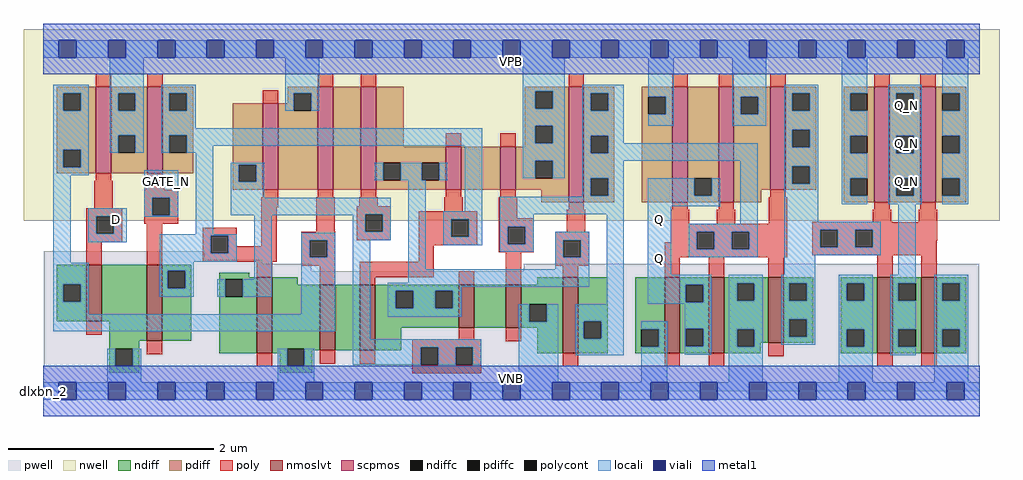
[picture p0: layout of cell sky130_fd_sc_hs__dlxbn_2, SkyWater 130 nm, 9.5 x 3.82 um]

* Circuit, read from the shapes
.subckt sky130_fd_sc_hs__dlxbn_2 D GATE_N VGND VNB VPB VPWR Q Q_N
XM1 VGND D n1 VNB sky130_fd_pr__nfet_01v8_lvt w=0.55 l=0.15
XM2 n2 GATE_N VGND VNB sky130_fd_pr__nfet_01v8_lvt w=0.74 l=0.15
XM3 VGND n2 n3 VNB sky130_fd_pr__nfet_01v8_lvt w=0.74 l=0.15
XM4 n4 n1 VGND VNB sky130_fd_pr__nfet_01v8_lvt w=0.64 l=0.15
XM5 n5 n2 n4 VNB sky130_fd_pr__nfet_01v8_lvt w=0.64 l=0.15
XM6 n6 n3 n5 VNB sky130_fd_pr__nfet_01v8_lvt w=0.42 l=0.15
XM7 VGND n7 n6 VNB sky130_fd_pr__nfet_01v8_lvt w=0.42 l=0.15
XM8 n7 n5 VGND VNB sky130_fd_pr__nfet_01v8_lvt w=0.74 l=0.15
XM9 Q n7 VGND VNB sky130_fd_pr__nfet_01v8_lvt w=0.74 l=0.15 m=2
XM10 n8 n7 VGND VNB sky130_fd_pr__nfet_01v8_lvt w=0.64 l=0.15
XM11 Q_N n8 VGND VNB sky130_fd_pr__nfet_01v8_lvt w=0.74 l=0.15 m=2
XM12 VPWR D n1 VPB sky130_fd_pr__pfet_01v8 w=0.84 l=0.15
XM13 n2 GATE_N VPWR VPB sky130_fd_pr__pfet_01v8 w=0.84 l=0.15
XM14 VPWR n2 n3 VPB sky130_fd_pr__pfet_01v8 w=0.84 l=0.15
XM15 n9 n1 VPWR VPB sky130_fd_pr__pfet_01v8 w=1 l=0.15
XM16 n5 n3 n9 VPB sky130_fd_pr__pfet_01v8 w=1 l=0.15
XM17 n10 n2 n5 VPB sky130_fd_pr__pfet_01v8 w=0.42 l=0.15
XM18 VPWR n7 n10 VPB sky130_fd_pr__pfet_01v8 w=0.42 l=0.15
XM19 n7 n5 VPWR VPB sky130_fd_pr__pfet_01v8 w=1.12 l=0.15
XM20 Q n7 VPWR VPB sky130_fd_pr__pfet_01v8 w=1.12 l=0.15 m=2
XM21 n8 n7 VPWR VPB sky130_fd_pr__pfet_01v8 w=1 l=0.15
XM22 Q_N n8 VPWR VPB sky130_fd_pr__pfet_01v8 w=1.12 l=0.15 m=2
.ends

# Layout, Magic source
magic
tech sky130A
magscale 1 2
<< nwell >>
rect -38 332 1862 704
<< pwell >>
rect 1 256 315 272
rect 1 248 427 256
rect 1 233 522 248
rect 936 233 1823 248
rect 1 49 1823 233
rect 0 0 1824 49
<< scpmos >>
rect 103 424 133 592
rect 203 424 233 592
rect 428 392 458 560
rect 535 392 565 592
rect 619 392 649 592
rect 784 392 814 476
rect 890 392 920 476
rect 1023 368 1053 592
rect 1225 368 1255 592
rect 1315 368 1345 592
rect 1416 392 1446 592
rect 1618 368 1648 592
rect 1708 368 1738 592
<< nmoslvt >>
rect 84 136 114 246
rect 202 98 232 246
rect 416 74 446 222
rect 539 79 569 207
rect 617 79 647 207
rect 809 123 839 207
rect 901 123 931 207
rect 1012 74 1042 222
rect 1210 74 1240 222
rect 1296 74 1326 222
rect 1412 94 1442 222
rect 1624 74 1654 222
rect 1710 74 1740 222
<< ndiff >>
rect 27 208 84 246
rect 27 174 39 208
rect 73 174 84 208
rect 27 136 84 174
rect 114 136 202 246
rect 129 98 202 136
rect 232 234 289 246
rect 232 200 243 234
rect 277 200 289 234
rect 232 98 289 200
rect 343 222 401 230
rect 343 218 416 222
rect 343 184 355 218
rect 389 184 416 218
rect 129 82 187 98
rect 129 48 141 82
rect 175 48 187 82
rect 343 74 416 184
rect 446 207 496 222
rect 962 207 1012 222
rect 446 82 539 207
rect 446 74 475 82
rect 461 48 475 74
rect 509 79 539 82
rect 569 79 617 207
rect 647 195 809 207
rect 647 161 687 195
rect 721 161 764 195
rect 798 161 809 195
rect 647 123 809 161
rect 839 123 901 207
rect 931 169 1012 207
rect 931 135 947 169
rect 981 135 1012 169
rect 931 123 1012 135
rect 647 79 697 123
rect 509 48 524 79
rect 129 36 187 48
rect 461 36 524 48
rect 962 74 1012 123
rect 1042 136 1099 222
rect 1042 102 1053 136
rect 1087 102 1099 136
rect 1042 74 1099 102
rect 1153 120 1210 222
rect 1153 86 1165 120
rect 1199 86 1210 120
rect 1153 74 1210 86
rect 1240 207 1296 222
rect 1240 173 1251 207
rect 1285 173 1296 207
rect 1240 121 1296 173
rect 1240 87 1251 121
rect 1285 87 1296 121
rect 1240 74 1296 87
rect 1326 210 1412 222
rect 1326 176 1351 210
rect 1385 176 1412 210
rect 1326 120 1412 176
rect 1326 86 1351 120
rect 1385 94 1412 120
rect 1442 210 1499 222
rect 1442 176 1453 210
rect 1487 176 1499 210
rect 1442 140 1499 176
rect 1442 106 1453 140
rect 1487 106 1499 140
rect 1442 94 1499 106
rect 1553 210 1624 222
rect 1553 176 1565 210
rect 1599 176 1624 210
rect 1553 120 1624 176
rect 1385 86 1397 94
rect 1326 74 1397 86
rect 1553 86 1565 120
rect 1599 86 1624 120
rect 1553 74 1624 86
rect 1654 210 1710 222
rect 1654 176 1665 210
rect 1699 176 1710 210
rect 1654 120 1710 176
rect 1654 86 1665 120
rect 1699 86 1710 120
rect 1654 74 1710 86
rect 1740 210 1797 222
rect 1740 176 1751 210
rect 1785 176 1797 210
rect 1740 120 1797 176
rect 1740 86 1751 120
rect 1785 86 1797 120
rect 1740 74 1797 86
<< pdiff >>
rect 27 580 103 592
rect 27 546 39 580
rect 73 546 103 580
rect 27 470 103 546
rect 27 436 39 470
rect 73 436 103 470
rect 27 424 103 436
rect 133 580 203 592
rect 133 546 146 580
rect 180 546 203 580
rect 133 498 203 546
rect 133 464 146 498
rect 180 464 203 498
rect 133 424 203 464
rect 233 580 292 592
rect 233 546 246 580
rect 280 546 292 580
rect 476 580 535 592
rect 476 560 488 580
rect 233 498 292 546
rect 233 464 246 498
rect 280 464 292 498
rect 233 424 292 464
rect 369 441 428 560
rect 369 407 381 441
rect 415 407 428 441
rect 369 392 428 407
rect 458 546 488 560
rect 522 546 535 580
rect 458 392 535 546
rect 565 392 619 592
rect 649 476 702 592
rect 938 584 1023 592
rect 938 550 958 584
rect 992 550 1023 584
rect 938 516 1023 550
rect 938 482 958 516
rect 992 482 1023 516
rect 938 476 1023 482
rect 649 444 784 476
rect 649 410 662 444
rect 696 410 737 444
rect 771 410 784 444
rect 649 392 784 410
rect 814 392 890 476
rect 920 448 1023 476
rect 920 414 958 448
rect 992 414 1023 448
rect 920 392 1023 414
rect 970 368 1023 392
rect 1053 580 1112 592
rect 1053 546 1066 580
rect 1100 546 1112 580
rect 1053 497 1112 546
rect 1053 463 1066 497
rect 1100 463 1112 497
rect 1053 414 1112 463
rect 1053 380 1066 414
rect 1100 380 1112 414
rect 1053 368 1112 380
rect 1166 573 1225 592
rect 1166 539 1178 573
rect 1212 539 1225 573
rect 1166 368 1225 539
rect 1255 414 1315 592
rect 1255 380 1268 414
rect 1302 380 1315 414
rect 1255 368 1315 380
rect 1345 573 1416 592
rect 1345 539 1358 573
rect 1392 539 1416 573
rect 1345 392 1416 539
rect 1446 580 1505 592
rect 1446 546 1459 580
rect 1493 546 1505 580
rect 1446 509 1505 546
rect 1446 475 1459 509
rect 1493 475 1505 509
rect 1446 438 1505 475
rect 1446 404 1459 438
rect 1493 404 1505 438
rect 1446 392 1505 404
rect 1559 580 1618 592
rect 1559 546 1571 580
rect 1605 546 1618 580
rect 1559 497 1618 546
rect 1559 463 1571 497
rect 1605 463 1618 497
rect 1559 414 1618 463
rect 1345 368 1398 392
rect 1559 380 1571 414
rect 1605 380 1618 414
rect 1559 368 1618 380
rect 1648 580 1708 592
rect 1648 546 1661 580
rect 1695 546 1708 580
rect 1648 497 1708 546
rect 1648 463 1661 497
rect 1695 463 1708 497
rect 1648 414 1708 463
rect 1648 380 1661 414
rect 1695 380 1708 414
rect 1648 368 1708 380
rect 1738 580 1797 592
rect 1738 546 1751 580
rect 1785 546 1797 580
rect 1738 497 1797 546
rect 1738 463 1751 497
rect 1785 463 1797 497
rect 1738 414 1797 463
rect 1738 380 1751 414
rect 1785 380 1797 414
rect 1738 368 1797 380
<< ndiffc >>
rect 39 174 73 208
rect 243 200 277 234
rect 355 184 389 218
rect 141 48 175 82
rect 475 48 509 82
rect 687 161 721 195
rect 764 161 798 195
rect 947 135 981 169
rect 1053 102 1087 136
rect 1165 86 1199 120
rect 1251 173 1285 207
rect 1251 87 1285 121
rect 1351 176 1385 210
rect 1351 86 1385 120
rect 1453 176 1487 210
rect 1453 106 1487 140
rect 1565 176 1599 210
rect 1565 86 1599 120
rect 1665 176 1699 210
rect 1665 86 1699 120
rect 1751 176 1785 210
rect 1751 86 1785 120
<< pdiffc >>
rect 39 546 73 580
rect 39 436 73 470
rect 146 546 180 580
rect 146 464 180 498
rect 246 546 280 580
rect 246 464 280 498
rect 381 407 415 441
rect 488 546 522 580
rect 958 550 992 584
rect 958 482 992 516
rect 662 410 696 444
rect 737 410 771 444
rect 958 414 992 448
rect 1066 546 1100 580
rect 1066 463 1100 497
rect 1066 380 1100 414
rect 1178 539 1212 573
rect 1268 380 1302 414
rect 1358 539 1392 573
rect 1459 546 1493 580
rect 1459 475 1493 509
rect 1459 404 1493 438
rect 1571 546 1605 580
rect 1571 463 1605 497
rect 1571 380 1605 414
rect 1661 546 1695 580
rect 1661 463 1695 497
rect 1661 380 1695 414
rect 1751 546 1785 580
rect 1751 463 1785 497
rect 1751 380 1785 414
<< poly >>
rect 103 592 133 618
rect 203 592 233 618
rect 535 592 565 618
rect 619 592 649 618
rect 1023 592 1053 618
rect 1225 592 1255 618
rect 1315 592 1345 618
rect 1416 592 1446 618
rect 1618 592 1648 618
rect 1708 592 1738 618
rect 428 560 458 586
rect 103 409 133 424
rect 203 409 233 424
rect 100 356 136 409
rect 200 392 236 409
rect 784 476 814 502
rect 890 476 920 502
rect 197 376 263 392
rect 428 377 458 392
rect 535 377 565 392
rect 619 377 649 392
rect 784 377 814 392
rect 890 377 920 392
rect 84 340 154 356
rect 84 306 104 340
rect 138 306 154 340
rect 197 342 213 376
rect 247 342 263 376
rect 197 326 263 342
rect 425 358 458 377
rect 84 290 154 306
rect 84 246 114 290
rect 202 246 232 326
rect 311 302 377 318
rect 311 268 327 302
rect 361 282 377 302
rect 425 282 455 358
rect 532 310 568 377
rect 616 360 652 377
rect 611 344 677 360
rect 781 350 817 377
rect 611 310 627 344
rect 661 310 677 344
rect 361 268 455 282
rect 311 252 455 268
rect 503 294 569 310
rect 611 294 677 310
rect 731 334 845 350
rect 731 300 795 334
rect 829 300 845 334
rect 503 260 519 294
rect 553 260 569 294
rect 84 110 114 136
rect 416 222 446 252
rect 503 244 569 260
rect 731 284 845 300
rect 887 336 923 377
rect 1416 377 1446 392
rect 1023 353 1053 368
rect 1225 353 1255 368
rect 1315 353 1345 368
rect 887 320 955 336
rect 887 286 905 320
rect 939 286 955 320
rect 1020 310 1056 353
rect 1222 326 1258 353
rect 1312 326 1348 353
rect 1413 326 1449 377
rect 1618 353 1648 368
rect 1708 353 1738 368
rect 1615 330 1651 353
rect 1222 310 1449 326
rect 731 252 761 284
rect 887 270 955 286
rect 997 294 1063 310
rect 202 72 232 98
rect 539 207 569 244
rect 617 222 761 252
rect 617 207 647 222
rect 809 207 839 233
rect 901 207 931 270
rect 997 260 1013 294
rect 1047 260 1063 294
rect 1222 290 1273 310
rect 997 244 1063 260
rect 1210 276 1273 290
rect 1307 276 1341 310
rect 1375 276 1449 310
rect 1210 260 1449 276
rect 1497 329 1654 330
rect 1705 329 1741 353
rect 1497 314 1741 329
rect 1497 280 1513 314
rect 1547 280 1581 314
rect 1615 294 1741 314
rect 1615 280 1740 294
rect 1497 264 1740 280
rect 1012 222 1042 244
rect 1210 222 1240 260
rect 1296 222 1326 260
rect 1412 222 1442 260
rect 1624 222 1654 264
rect 1710 222 1740 264
rect 416 48 446 74
rect 809 101 839 123
rect 719 85 853 101
rect 901 97 931 123
rect 539 53 569 79
rect 617 53 647 79
rect 719 51 735 85
rect 769 51 803 85
rect 837 51 853 85
rect 719 35 853 51
rect 1012 48 1042 74
rect 1210 48 1240 74
rect 1296 48 1326 74
rect 1412 68 1442 94
rect 1624 48 1654 74
rect 1710 48 1740 74
<< polycont >>
rect 104 306 138 340
rect 213 342 247 376
rect 327 268 361 302
rect 627 310 661 344
rect 795 300 829 334
rect 519 260 553 294
rect 905 286 939 320
rect 1013 260 1047 294
rect 1273 276 1307 310
rect 1341 276 1375 310
rect 1513 280 1547 314
rect 1581 280 1615 314
rect 735 51 769 85
rect 803 51 837 85
<< locali >>
rect 0 649 31 683
rect 65 649 127 683
rect 161 649 223 683
rect 257 649 319 683
rect 353 649 415 683
rect 449 649 511 683
rect 545 649 607 683
rect 641 649 703 683
rect 737 649 799 683
rect 833 649 895 683
rect 929 649 991 683
rect 1025 649 1087 683
rect 1121 649 1183 683
rect 1217 649 1279 683
rect 1313 649 1375 683
rect 1409 649 1471 683
rect 1505 649 1567 683
rect 1601 649 1663 683
rect 1697 649 1759 683
rect 1793 649 1824 683
rect 20 580 89 596
rect 20 546 39 580
rect 73 546 89 580
rect 20 470 89 546
rect 20 436 39 470
rect 73 436 89 470
rect 130 580 196 649
rect 130 546 146 580
rect 180 546 196 580
rect 130 498 196 546
rect 130 464 146 498
rect 180 464 196 498
rect 230 580 297 596
rect 230 546 246 580
rect 280 546 297 580
rect 472 580 538 649
rect 472 546 488 580
rect 522 546 538 580
rect 934 584 1016 649
rect 934 550 958 584
rect 992 550 1016 584
rect 230 512 297 546
rect 934 516 1016 550
rect 230 498 855 512
rect 230 464 246 498
rect 280 478 855 498
rect 280 464 331 478
rect 20 420 89 436
rect 20 250 54 420
rect 197 376 263 430
rect 88 340 163 356
rect 88 306 104 340
rect 138 306 163 340
rect 197 342 213 376
rect 247 342 263 376
rect 197 339 263 342
rect 88 290 163 306
rect 297 305 331 464
rect 365 441 431 444
rect 365 407 381 441
rect 415 407 431 441
rect 646 410 662 444
rect 696 410 737 444
rect 771 410 787 444
rect 365 376 431 407
rect 365 344 677 376
rect 365 342 627 344
rect 227 302 377 305
rect 227 268 327 302
rect 361 268 377 302
rect 227 252 377 268
rect 20 208 89 250
rect 20 174 39 208
rect 73 174 89 208
rect 227 234 293 252
rect 227 200 243 234
rect 277 200 293 234
rect 411 218 445 342
rect 603 310 627 342
rect 661 310 677 344
rect 227 184 293 200
rect 339 184 355 218
rect 389 184 445 218
rect 503 294 569 308
rect 503 260 519 294
rect 553 260 569 294
rect 20 150 89 174
rect 503 150 569 260
rect 20 116 569 150
rect 603 294 677 310
rect 603 101 637 294
rect 711 237 745 410
rect 821 350 855 478
rect 934 482 958 516
rect 992 482 1016 516
rect 934 448 1016 482
rect 934 414 958 448
rect 992 414 1016 448
rect 1050 580 1131 596
rect 1050 546 1066 580
rect 1100 546 1131 580
rect 1050 497 1131 546
rect 1178 573 1228 649
rect 1212 539 1228 573
rect 1178 516 1228 539
rect 1342 573 1408 649
rect 1342 539 1358 573
rect 1392 539 1408 573
rect 1342 516 1408 539
rect 1443 580 1509 596
rect 1443 546 1459 580
rect 1493 546 1509 580
rect 1050 463 1066 497
rect 1100 482 1131 497
rect 1443 509 1509 546
rect 1100 463 1391 482
rect 1050 448 1391 463
rect 1050 414 1131 448
rect 1050 380 1066 414
rect 1100 380 1131 414
rect 1050 378 1131 380
rect 779 334 855 350
rect 779 300 795 334
rect 829 300 855 334
rect 779 284 855 300
rect 889 344 1131 378
rect 889 320 955 344
rect 889 286 905 320
rect 939 286 955 320
rect 889 271 955 286
rect 997 294 1063 310
rect 997 260 1013 294
rect 1047 260 1063 294
rect 997 237 1063 260
rect 711 211 1063 237
rect 671 203 1063 211
rect 671 195 814 203
rect 671 161 687 195
rect 721 161 764 195
rect 798 161 814 195
rect 1097 169 1131 344
rect 1177 380 1268 414
rect 1302 380 1318 414
rect 1177 360 1318 380
rect 1177 226 1223 360
rect 1357 326 1391 448
rect 1257 310 1391 326
rect 1257 276 1273 310
rect 1307 276 1341 310
rect 1375 276 1391 310
rect 1257 260 1391 276
rect 1443 475 1459 509
rect 1493 475 1509 509
rect 1443 438 1509 475
rect 1443 404 1459 438
rect 1493 404 1509 438
rect 1443 330 1509 404
rect 1555 580 1605 649
rect 1555 546 1571 580
rect 1555 497 1605 546
rect 1555 463 1571 497
rect 1555 414 1605 463
rect 1555 380 1571 414
rect 1555 364 1605 380
rect 1645 580 1711 596
rect 1645 546 1661 580
rect 1695 546 1711 580
rect 1645 497 1711 546
rect 1645 463 1661 497
rect 1695 463 1711 497
rect 1645 414 1711 463
rect 1645 380 1661 414
rect 1695 380 1711 414
rect 1645 364 1711 380
rect 1751 580 1801 649
rect 1785 546 1801 580
rect 1751 497 1801 546
rect 1785 463 1801 497
rect 1751 414 1801 463
rect 1785 380 1801 414
rect 1751 364 1801 380
rect 1443 314 1631 330
rect 1443 280 1513 314
rect 1547 280 1581 314
rect 1615 280 1631 314
rect 1443 264 1631 280
rect 1443 226 1503 264
rect 1665 226 1699 364
rect 1177 207 1301 226
rect 1177 173 1251 207
rect 1285 173 1301 207
rect 1177 170 1301 173
rect 671 145 814 161
rect 926 135 947 169
rect 981 135 1003 169
rect 603 85 853 101
rect 125 48 141 82
rect 175 48 191 82
rect 125 17 191 48
rect 457 48 475 82
rect 509 48 528 82
rect 603 51 735 85
rect 769 51 803 85
rect 837 51 853 85
rect 457 17 528 48
rect 926 17 1003 135
rect 1037 136 1131 169
rect 1037 102 1053 136
rect 1087 102 1131 136
rect 1037 70 1131 102
rect 1165 120 1215 136
rect 1199 86 1215 120
rect 1165 17 1215 86
rect 1249 121 1301 170
rect 1249 87 1251 121
rect 1285 87 1301 121
rect 1249 71 1301 87
rect 1335 210 1401 226
rect 1335 176 1351 210
rect 1385 176 1401 210
rect 1335 120 1401 176
rect 1335 86 1351 120
rect 1385 86 1401 120
rect 1437 210 1503 226
rect 1437 176 1453 210
rect 1487 176 1503 210
rect 1437 140 1503 176
rect 1437 106 1453 140
rect 1487 106 1503 140
rect 1437 90 1503 106
rect 1549 210 1615 226
rect 1549 176 1565 210
rect 1599 176 1615 210
rect 1549 120 1615 176
rect 1335 17 1401 86
rect 1549 86 1565 120
rect 1599 86 1615 120
rect 1549 17 1615 86
rect 1649 210 1699 226
rect 1649 176 1665 210
rect 1649 120 1699 176
rect 1649 86 1665 120
rect 1649 70 1699 86
rect 1735 210 1801 226
rect 1735 176 1751 210
rect 1785 176 1801 210
rect 1735 120 1801 176
rect 1735 86 1751 120
rect 1785 86 1801 120
rect 1735 17 1801 86
rect 0 -17 31 17
rect 65 -17 127 17
rect 161 -17 223 17
rect 257 -17 319 17
rect 353 -17 415 17
rect 449 -17 511 17
rect 545 -17 607 17
rect 641 -17 703 17
rect 737 -17 799 17
rect 833 -17 895 17
rect 929 -17 991 17
rect 1025 -17 1087 17
rect 1121 -17 1183 17
rect 1217 -17 1279 17
rect 1313 -17 1375 17
rect 1409 -17 1471 17
rect 1505 -17 1567 17
rect 1601 -17 1663 17
rect 1697 -17 1759 17
rect 1793 -17 1824 17
<< viali >>
rect 31 649 65 683
rect 127 649 161 683
rect 223 649 257 683
rect 319 649 353 683
rect 415 649 449 683
rect 511 649 545 683
rect 607 649 641 683
rect 703 649 737 683
rect 799 649 833 683
rect 895 649 929 683
rect 991 649 1025 683
rect 1087 649 1121 683
rect 1183 649 1217 683
rect 1279 649 1313 683
rect 1375 649 1409 683
rect 1471 649 1505 683
rect 1567 649 1601 683
rect 1663 649 1697 683
rect 1759 649 1793 683
rect 31 -17 65 17
rect 127 -17 161 17
rect 223 -17 257 17
rect 319 -17 353 17
rect 415 -17 449 17
rect 511 -17 545 17
rect 607 -17 641 17
rect 703 -17 737 17
rect 799 -17 833 17
rect 895 -17 929 17
rect 991 -17 1025 17
rect 1087 -17 1121 17
rect 1183 -17 1217 17
rect 1279 -17 1313 17
rect 1375 -17 1409 17
rect 1471 -17 1505 17
rect 1567 -17 1601 17
rect 1663 -17 1697 17
rect 1759 -17 1793 17
<< metal1 >>
rect 0 683 1824 715
rect 0 649 31 683
rect 65 649 127 683
rect 161 649 223 683
rect 257 649 319 683
rect 353 649 415 683
rect 449 649 511 683
rect 545 649 607 683
rect 641 649 703 683
rect 737 649 799 683
rect 833 649 895 683
rect 929 649 991 683
rect 1025 649 1087 683
rect 1121 649 1183 683
rect 1217 649 1279 683
rect 1313 649 1375 683
rect 1409 649 1471 683
rect 1505 649 1567 683
rect 1601 649 1663 683
rect 1697 649 1759 683
rect 1793 649 1824 683
rect 0 617 1824 649
rect 0 17 1824 49
rect 0 -17 31 17
rect 65 -17 127 17
rect 161 -17 223 17
rect 257 -17 319 17
rect 353 -17 415 17
rect 449 -17 511 17
rect 545 -17 607 17
rect 641 -17 703 17
rect 737 -17 799 17
rect 833 -17 895 17
rect 929 -17 991 17
rect 1025 -17 1087 17
rect 1121 -17 1183 17
rect 1217 -17 1279 17
rect 1313 -17 1375 17
rect 1409 -17 1471 17
rect 1505 -17 1567 17
rect 1601 -17 1663 17
rect 1697 -17 1759 17
rect 1793 -17 1824 17
rect 0 -49 1824 -17
<< labels >>
rlabel comment s 0 0 0 0 4 dlxbn_2
flabel pwell s 0 0 1824 49 0 FreeSans 200 0 0 0 VNB
port 4 nsew ground bidirectional
flabel nwell s 0 617 1824 666 0 FreeSans 200 0 0 0 VPB
port 5 nsew power bidirectional
flabel metal1 s 0 617 1824 666 0 FreeSans 340 0 0 0 VPWR
port 6 nsew power bidirectional
flabel metal1 s 0 0 1824 49 0 FreeSans 340 0 0 0 VGND
port 3 nsew ground bidirectional
flabel locali s 127 316 161 350 0 FreeSans 340 0 0 0 D
port 1 nsew signal input
flabel locali s 223 390 257 424 0 FreeSans 340 0 0 0 GATE_N
port 2 nsew clock input
flabel locali s 1183 242 1217 276 0 FreeSans 340 0 0 0 Q
port 7 nsew signal output
flabel locali s 1183 316 1217 350 0 FreeSans 340 0 0 0 Q
port 7 nsew signal output
flabel locali s 1663 390 1697 424 0 FreeSans 340 0 0 0 Q_N
port 8 nsew signal output
flabel locali s 1663 464 1697 498 0 FreeSans 340 0 0 0 Q_N
port 8 nsew signal output
flabel locali s 1663 538 1697 572 0 FreeSans 340 0 0 0 Q_N
port 8 nsew signal output
<< properties >>
string LEFsite unit
string LEFclass CORE
string FIXED_BBOX 0 0 1824 666
string GDS_FILE $PDKPATH/libs.ref/sky130_fd_sc_hs/gds/sky130_fd_sc_hs.gds
string LEFsymmetry X Y
string GDS_END 3171742
string GDS_START 3157908
<< end >>
